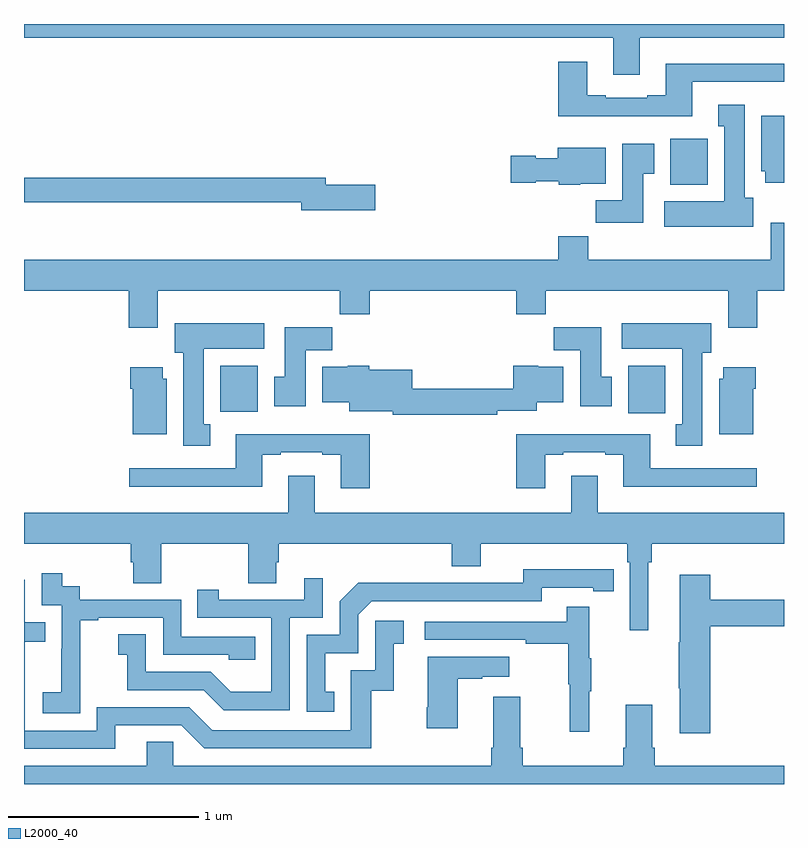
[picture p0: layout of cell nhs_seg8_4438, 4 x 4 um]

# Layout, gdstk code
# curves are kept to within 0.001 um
import gdstk
lib = gdstk.Library(unit=1e-6, precision=1e-09)
def R(c, l, rs):  # rectangles x0, y0, x1, y1
    for r in rs: c.add(gdstk.rectangle(r[:2], r[2:], *l))
def P(c, l, *ps):  # polygons
    for p in ps: c.add(gdstk.Polygon(p, *l))
L2000_40 = (2000, 40)

nhs_seg8_4438 = lib.new_cell('nhs_seg8_4438')
R(nhs_seg8_4438, L2000_40, [(384.179,1119.852,384.375,1120.102), (382.034,1119.86,382.231,1120.102), (384.401,1121.054,384.598,1121.296)])
P(nhs_seg8_4438, L2000_40, [(384.241,1121.828),(385,1121.828),(385,1121.9),(381,1121.9),(381,1121.828),(384.101,1121.828),(384.101,1121.634),(384.241,1121.634)],
  [(384.517,1121.595),(385,1121.595),(385,1121.692),(384.377,1121.692),(384.377,1121.524),(384.281,1121.524),(384.281,1121.511),(384.061,1121.511),(384.061,1121.524),(383.965,1121.524),(383.965,1121.701),(383.813,1121.701),(383.813,1121.414),(384.517,1121.414)],
  [(384.838,1120.986),(384.793,1120.986),(384.793,1121.476),(384.653,1121.476),(384.653,1121.363),(384.686,1121.363),(384.686,1120.966),(384.369,1120.966),(384.369,1120.832),(384.838,1120.832)],
  [(385,1121.416),(384.881,1121.416),(384.881,1121.124),(384.902,1121.124),(384.902,1121.064),(385,1121.064)],
  [(384.259,1121.113),(384.316,1121.113),(384.316,1121.269),(384.149,1121.269),(384.149,1120.972),(384.01,1120.972),(384.01,1120.854),(384.259,1120.854)],
  [(383.928,1121.06),(384.061,1121.06),(384.061,1121.248),(383.81,1121.248),(383.81,1121.194),(383.694,1121.194),(383.694,1121.207),(383.562,1121.207),(383.562,1121.065),(383.694,1121.065),(383.694,1121.072),(383.814,1121.072),(383.814,1121.054),(383.928,1121.054)],
  [(382.849,1121.054),(382.588,1121.054),(382.588,1121.09),(381,1121.09),(381,1120.962),(382.46,1120.962),(382.46,1120.919),(382.849,1120.919)],
  [(381.703,1120.496),(382.663,1120.496),(382.663,1120.372),(382.82,1120.372),(382.82,1120.496),(383.591,1120.496),(383.591,1120.372),(383.747,1120.372),(383.747,1120.496),(384.707,1120.496),(384.707,1120.302),(384.86,1120.302),(384.86,1120.496),(385,1120.496),(385,1120.855),(384.929,1120.855),(384.929,1120.66),(383.969,1120.66),(383.969,1120.784),(383.813,1120.784),(383.813,1120.66),(381,1120.66),(381,1120.496),(381.551,1120.496),(381.551,1120.302),(381.703,1120.302)],
  [(384.571,1120.17),(384.616,1120.17),(384.616,1120.324),(384.147,1120.324),(384.147,1120.19),(384.464,1120.19),(384.464,1119.793),(384.431,1119.793),(384.431,1119.681),(384.571,1119.681)],
  [(381.979,1119.794),(381.946,1119.794),(381.946,1120.19),(382.264,1120.19),(382.264,1120.324),(381.794,1120.324),(381.794,1120.17),(381.839,1120.17),(381.839,1119.681),(381.979,1119.681)],
  [(382.483,1120.184),(382.622,1120.184),(382.622,1120.303),(382.373,1120.303),(382.373,1120.044),(382.316,1120.044),(382.316,1119.888),(382.483,1119.888)],
  [(384.094,1120.044),(384.037,1120.044),(384.037,1120.303),(383.788,1120.303),(383.788,1120.184),(383.927,1120.184),(383.927,1119.888),(384.094,1119.888)],
  [(383.492,1119.864),(383.698,1119.864),(383.698,1119.908),(383.839,1119.908),(383.839,1120.096),(383.706,1120.096),(383.706,1120.102),(383.576,1120.102),(383.576,1119.98),(383.044,1119.98),(383.044,1120.081),(382.818,1120.081),(382.818,1120.102),(382.704,1120.102),(382.704,1120.096),(382.571,1120.096),(382.571,1119.908),(382.712,1119.908),(382.712,1119.863),(382.94,1119.863),(382.94,1119.844),(383.492,1119.844)],
  [(384.838,1119.98),(384.851,1119.98),(384.851,1120.093),(384.68,1120.093),(384.68,1120.032),(384.659,1120.032),(384.659,1119.74),(384.838,1119.74)],
  [(381.751,1120.032),(381.73,1120.032),(381.73,1120.093),(381.56,1120.093),(381.56,1119.98),(381.572,1119.98),(381.572,1119.74),(381.751,1119.74)],
  [(383.743,1119.633),(383.839,1119.633),(383.839,1119.645),(384.059,1119.645),(384.059,1119.633),(384.155,1119.633),(384.155,1119.464),(384.856,1119.464),(384.856,1119.561),(384.295,1119.561),(384.295,1119.742),(383.591,1119.742),(383.591,1119.456),(383.743,1119.456)],
  [(382.82,1119.742),(382.115,1119.742),(382.115,1119.561),(381.555,1119.561),(381.555,1119.464),(382.255,1119.464),(382.255,1119.633),(382.351,1119.633),(382.351,1119.645),(382.571,1119.645),(382.571,1119.633),(382.667,1119.633),(382.667,1119.456),(382.82,1119.456)],
  [(384.286,1119.068),(384.305,1119.068),(384.305,1119.164),(385,1119.164),(385,1119.328),(384.019,1119.328),(384.019,1119.523),(383.879,1119.523),(383.879,1119.328),(382.531,1119.328),(382.531,1119.523),(382.391,1119.523),(382.391,1119.328),(381,1119.328),(381,1119.164),(381.563,1119.164),(381.563,1119.066),(381.575,1119.066),(381.575,1118.956),(381.723,1118.956),(381.723,1119.164),(382.18,1119.164),(382.18,1118.956),(382.327,1118.956),(382.327,1119.066),(382.34,1119.066),(382.34,1119.164),(383.252,1119.164),(383.252,1119.047),(383.404,1119.047),(383.404,1119.164),(384.176,1119.164),(384.176,1119.068),(384.189,1119.068),(384.189,1118.709),(384.286,1118.709)],
  [(382.634,1118.385),(382.585,1118.385),(382.585,1118.589),(382.758,1118.589),(382.758,1118.79),(382.83,1118.862),(383.724,1118.862),(383.724,1118.934),(383.996,1118.934),(383.996,1118.914),(384.104,1118.914),(384.104,1119.03),(383.628,1119.031),(383.628,1118.958),(383.168,1118.958),(383.168,1118.96),(382.76,1118.96),(382.662,1118.862),(382.662,1118.685),(382.488,1118.685),(382.488,1118.28),(382.634,1118.28)],
  [(381.297,1118.479),(381.296,1118.479),(381.296,1118.763),(381.391,1118.763),(381.391,1118.775),(381.732,1118.775),(381.732,1118.58),(382.077,1118.58),(382.077,1118.553),(382.217,1118.553),(382.217,1118.676),(381.828,1118.676),(381.828,1118.871),(381.294,1118.871),(381.294,1118.94),(381.202,1118.94),(381.202,1119.01),(381.093,1119.01),(381.093,1118.841),(381.198,1118.841),(381.198,1118.612),(381.197,1118.612),(381.197,1118.383),(381.099,1118.383),(381.099,1118.273),(381.297,1118.273)],
  [(384.611,1118.729),(385,1118.729),(385,1118.871),(384.611,1118.871),(384.611,1119.001),(384.452,1119.001),(384.452,1118.645),(384.445,1118.645),(384.445,1118.404),(384.452,1118.404),(384.452,1118.166),(384.611,1118.166)],
  [(382.398,1118.775),(382.572,1118.775),(382.572,1118.983),(382.475,1118.983),(382.475,1118.871),(382.024,1118.871),(382.024,1118.923),(381.913,1118.923),(381.913,1118.775),(382.302,1118.775),(382.302,1118.386),(382.088,1118.386),(381.984,1118.49),(381.642,1118.49),(381.642,1118.689),(381.495,1118.689),(381.495,1118.579),(381.544,1118.579),(381.544,1118.394),(381.947,1118.394),(382.052,1118.289),(382.398,1118.289)],
  [(381.481,1118.208),(381.828,1118.208),(381.948,1118.088),(382.828,1118.088),(382.828,1118.391),(382.946,1118.391),(382.946,1118.637),(382.999,1118.637),(382.999,1118.758),(382.848,1118.758),(382.848,1118.499),(382.719,1118.499),(382.719,1118.184),(381.99,1118.184),(381.87,1118.304),(381.384,1118.304),(381.384,1118.181),(381.003,1118.181),(381.003,1118.65),(381.113,1118.65),(381.113,1118.751),(381.003,1118.751),(381.003,1118.976),(381,1118.976),(381,1118.085),(381.481,1118.085)],
  [(383.975,1118.387),(383.986,1118.387),(383.986,1118.561),(383.975,1118.561),(383.975,1118.833),(383.857,1118.833),(383.857,1118.754),(383.109,1118.754),(383.109,1118.658),(383.641,1118.658),(383.641,1118.638),(383.865,1118.638),(383.865,1118.424),(383.872,1118.424),(383.872,1118.175),(383.975,1118.175)],
  [(383.284,1118.455),(383.411,1118.455),(383.411,1118.465),(383.554,1118.465),(383.554,1118.569),(383.126,1118.569),(383.126,1118.305),(383.119,1118.305),(383.119,1118.193),(383.284,1118.193)],
  [(385,1117.996),(384.32,1117.996),(384.32,1118.092),(384.307,1118.092),(384.307,1118.317),(384.167,1118.317),(384.167,1118.092),(384.155,1118.092),(384.155,1117.996),(383.624,1117.996),(383.624,1118.092),(383.611,1118.092),(383.611,1118.359),(383.471,1118.359),(383.471,1118.092),(383.459,1118.092),(383.459,1117.996),(381.786,1117.996),(381.786,1118.123),(381.647,1118.123),(381.647,1117.996),(381,1117.996),(381,1117.9),(385,1117.9)])

lib.write_gds('nhs_seg8_4438.gds')
